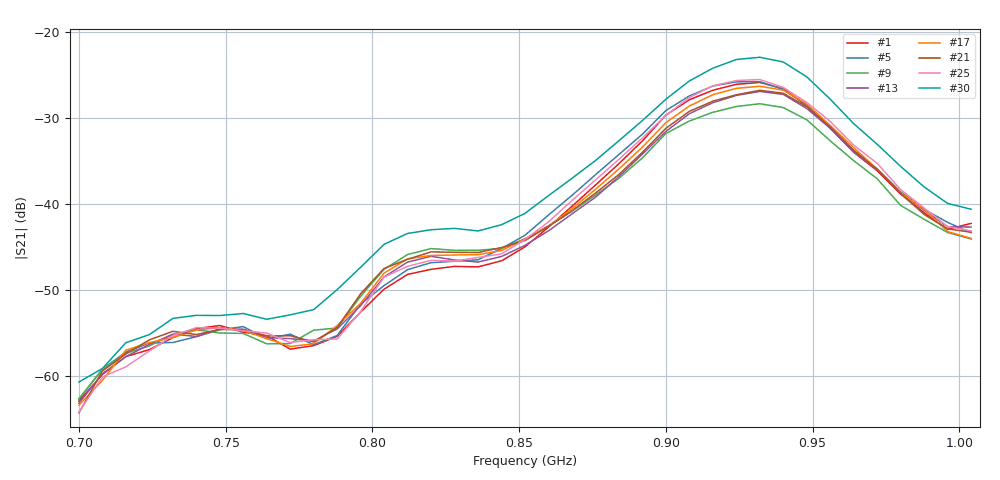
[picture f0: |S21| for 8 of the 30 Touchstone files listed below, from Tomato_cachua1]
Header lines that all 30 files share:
# Hz S RI R 50
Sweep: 700 MHz to 1.004 GHz
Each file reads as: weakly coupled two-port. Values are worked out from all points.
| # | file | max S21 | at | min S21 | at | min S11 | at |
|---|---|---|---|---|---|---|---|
| 1 | cachua1.s2p | -25.89 dB | 932 MHz | -62.9 dB | 700 MHz | -16.7 dB | 932 MHz |
| 2 | cachua1x90 (1).s2p | -25.54 dB | 932 MHz | -63.6 dB | 700 MHz | -19.6 dB | 932 MHz |
| 3 | cachua1x90 (2).s2p | -26.45 dB | 932 MHz | -62.3 dB | 700 MHz | -19.7 dB | 932 MHz |
| 4 | cachua1x90 (3).s2p | -26.05 dB | 932 MHz | -63.2 dB | 700 MHz | -19.0 dB | 932 MHz |
| 5 | cachua1x90 (4).s2p | -25.80 dB | 932 MHz | -62.7 dB | 700 MHz | -17.2 dB | 932 MHz |
| 6 | cachua1x90 (5).s2p | -26.43 dB | 932 MHz | -62.8 dB | 700 MHz | -20.2 dB | 932 MHz |
| 7 | cachua1x90 (6).s2p | -26.74 dB | 932 MHz | -64.1 dB | 700 MHz | -20.2 dB | 932 MHz |
| 8 | cachua1x90 (7).s2p | -26.41 dB | 932 MHz | -61.8 dB | 700 MHz | -17.3 dB | 932 MHz |
| 9 | cachua1x90 (8).s2p | -28.36 dB | 932 MHz | -62.6 dB | 700 MHz | -17.8 dB | 932 MHz |
| 10 | cachua1x90 (9).s2p | -27.43 dB | 932 MHz | -62.3 dB | 700 MHz | -19.3 dB | 932 MHz |
| 11 | cachua1x90 (10).s2p | -25.65 dB | 932 MHz | -63.7 dB | 700 MHz | -20.0 dB | 932 MHz |
| 12 | cachua1x180 (1).s2p | -26.09 dB | 932 MHz | -62.7 dB | 700 MHz | -19.8 dB | 932 MHz |
| 13 | cachua1x180 (2).s2p | -26.94 dB | 932 MHz | -63.2 dB | 700 MHz | -18.7 dB | 932 MHz |
| 14 | cachua1x180 (3).s2p | -25.94 dB | 932 MHz | -62.2 dB | 700 MHz | -17.0 dB | 932 MHz |
| 15 | cachua1x180 (4).s2p | -26.17 dB | 932 MHz | -62.8 dB | 700 MHz | -20.4 dB | 932 MHz |
| 16 | cachua1x180 (5).s2p | -26.97 dB | 932 MHz | -65.1 dB | 700 MHz | -19.2 dB | 932 MHz |
| 17 | cachua1x180 (6).s2p | -26.33 dB | 932 MHz | -63.4 dB | 700 MHz | -16.5 dB | 932 MHz |
| 18 | cachua1x180 (7).s2p | -28.64 dB | 932 MHz | -62.3 dB | 700 MHz | -18.6 dB | 932 MHz |
| 19 | cachua1x180 (8).s2p | -26.40 dB | 932 MHz | -64.5 dB | 700 MHz | -20.6 dB | 932 MHz |
| 20 | cachua1x180 (9).s2p | -25.88 dB | 932 MHz | -62.9 dB | 700 MHz | -20.0 dB | 932 MHz |
| 21 | cachua2.s2p | -26.80 dB | 932 MHz | -64.3 dB | 700 MHz | -19.5 dB | 932 MHz |
| 22 | cachua3.s2p | -25.71 dB | 932 MHz | -63.5 dB | 700 MHz | -19.5 dB | 932 MHz |
| 23 | cachua4.s2p | -25.90 dB | 924 MHz | -62.6 dB | 700 MHz | -17.7 dB | 932 MHz |
| 24 | cachua5.s2p | -26.21 dB | 932 MHz | -63.5 dB | 700 MHz | -20.5 dB | 932 MHz |
| 25 | cachua6.s2p | -25.55 dB | 932 MHz | -64.2 dB | 700 MHz | -17.5 dB | 932 MHz |
| 26 | cachua7.s2p | -26.55 dB | 932 MHz | -62.2 dB | 700 MHz | -19.7 dB | 932 MHz |
| 27 | cachua8.s2p | -27.28 dB | 932 MHz | -62.1 dB | 700 MHz | -20.0 dB | 932 MHz |
| 28 | cachua9.s2p | -27.60 dB | 932 MHz | -62.7 dB | 700 MHz | -19.6 dB | 932 MHz |
| 29 | cachua10.s2p | -25.96 dB | 932 MHz | -63.1 dB | 700 MHz | -20.4 dB | 932 MHz |
| 30 | moitruongcachua.s2p | -22.96 dB | 932 MHz | -60.7 dB | 700 MHz | -19.6 dB | 932 MHz |
